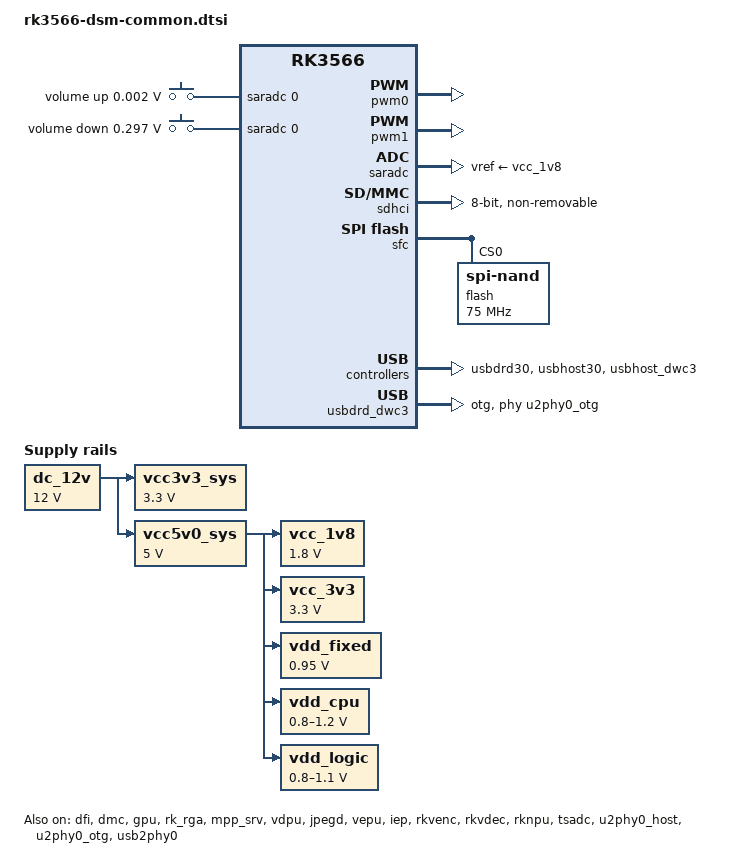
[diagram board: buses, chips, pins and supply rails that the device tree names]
// SPDX-License-Identifier: (GPL-2.0+ OR MIT)
/*
 * Common RK3566 DSM/NAS support.
 *
 * Keep display, HDMI audio and board-only connectors out of this file.
 */

#include "rk3566.dtsi"
#include <dt-bindings/input/rk-input.h>

/ {
	adc_keys: adc-keys {
		compatible = "adc-keys";
		io-channels = <&saradc 0>;
		io-channel-names = "buttons";
		keyup-threshold-microvolt = <1800000>;
		poll-interval = <100>;

		vol-up-key {
			label = "volume up";
			linux,code = <KEY_VOLUMEUP>;
			press-threshold-microvolt = <1750>;
		};

		vol-down-key {
			label = "volume down";
			linux,code = <KEY_VOLUMEDOWN>;
			press-threshold-microvolt = <297500>;
		};
	};

	dc_12v: dc-12v {
		compatible = "regulator-fixed";
		regulator-name = "dc_12v";
		regulator-always-on;
		regulator-boot-on;
		regulator-min-microvolt = <12000000>;
		regulator-max-microvolt = <12000000>;
	};

	reserved-memory {
		#address-cells = <2>;
		#size-cells = <2>;
		ranges;

		/delete-node/ drm-logo@00000000;
		/delete-node/ drm-cubic-lut@00000000;

		rknpu_reserved: rknpu {
			compatible = "shared-dma-pool";
			inactive;
			reusable;
			size = <0x0 0x20000000>;
			alignment = <0x0 0x1000>;
			status = "disabled";
		};
	};

	vcc3v3_sys: vcc3v3-sys {
		compatible = "regulator-fixed";
		regulator-name = "vcc3v3_sys";
		regulator-always-on;
		regulator-boot-on;
		regulator-min-microvolt = <3300000>;
		regulator-max-microvolt = <3300000>;
		vin-supply = <&dc_12v>;
	};

	vcc5v0_sys: vcc5v0-sys {
		compatible = "regulator-fixed";
		regulator-name = "vcc5v0_sys";
		regulator-always-on;
		regulator-boot-on;
		regulator-min-microvolt = <5000000>;
		regulator-max-microvolt = <5000000>;
		vin-supply = <&dc_12v>;
	};

	vcc_1v8: vcc_1v8 {
		compatible = "regulator-fixed";
		regulator-name = "vcc_1v8";
		regulator-always-on;
		regulator-boot-on;
		regulator-min-microvolt = <1800000>;
		regulator-max-microvolt = <1800000>;
		vin-supply = <&vcc5v0_sys>;
	};

	vcc_3v3: vcc_3v3 {
		compatible = "regulator-fixed";
		regulator-name = "vcc_3v3";
		regulator-always-on;
		regulator-boot-on;
		regulator-min-microvolt = <3300000>;
		regulator-max-microvolt = <3300000>;
		vin-supply = <&vcc5v0_sys>;
	};

	vdd_fixed: vdd-fixed {
		compatible = "regulator-fixed";
		regulator-name = "vdd_fixed";
		regulator-min-microvolt = <950000>;
		regulator-max-microvolt = <950000>;
		regulator-always-on;
		regulator-boot-on;
		vin-supply = <&vcc5v0_sys>;
	};

	vdd_cpu: vdd-cpu {
		compatible = "pwm-regulator";
		pwms = <&pwm0 0 5000 1>;
		regulator-name = "vdd_cpu";
		regulator-min-microvolt = <800000>;
		regulator-max-microvolt = <1200000>;
		regulator-init-microvolt = <950000>;
		regulator-always-on;
		regulator-boot-on;
		regulator-settling-time-up-us = <250>;
		regulator-ramp-delay = <2300>;
		pwm-supply = <&vcc5v0_sys>;
		status = "okay";
	};

	vdd_logic: vdd-logic {
		compatible = "pwm-regulator";
		pwms = <&pwm1 0 5000 1>;
		regulator-name = "vdd_logic";
		regulator-min-microvolt = <800000>;
		regulator-max-microvolt = <1100000>;
		regulator-init-microvolt = <950000>;
		regulator-always-on;
		regulator-boot-on;
		regulator-settling-time-up-us = <250>;
		regulator-ramp-delay = <6001>;
		pwm-supply = <&vcc5v0_sys>;
		status = "okay";
	};
};

&bus_npu {
	status = "disabled";
};

&cpu0 {
	clocks = <&cru ARMCLK>;
	cpu-supply = <&vdd_cpu>;
};

&cpu1 {
	clocks = <&cru ARMCLK>;
};

&cpu2 {
	clocks = <&cru ARMCLK>;
};

&cpu3 {
	clocks = <&cru ARMCLK>;
};

&cpu0_opp_table {
	/delete-property/ rockchip,supported-hw;
	/delete-node/ opp-1992000000;
	/delete-node/ opp-j-1008000000;
	/delete-node/ opp-j-1416000000;
	/delete-node/ opp-m-1608000000;

	opp-408000000 {
		/delete-property/ opp-supported-hw;
		opp-hz = /bits/ 64 <408000000>;
		opp-microvolt = <850000 850000 1200000>;
	};

	opp-600000000 {
		/delete-property/ opp-supported-hw;
		opp-hz = /bits/ 64 <600000000>;
		opp-microvolt = <850000 850000 1200000>;
	};

	opp-816000000 {
		/delete-property/ opp-supported-hw;
		opp-hz = /bits/ 64 <816000000>;
		opp-microvolt = <850000 850000 1200000>;
	};

	opp-1104000000 {
		/delete-property/ opp-supported-hw;
		opp-hz = /bits/ 64 <1104000000>;
		opp-microvolt = <900000 900000 1200000>;
	};

	opp-1416000000 {
		/delete-property/ opp-supported-hw;
		opp-hz = /bits/ 64 <1416000000>;
		opp-microvolt = <1025000 1025000 1200000>;
	};

	opp-1608000000 {
		/delete-property/ opp-supported-hw;
		opp-hz = /bits/ 64 <1608000000>;
		opp-microvolt = <1100000 1100000 1200000>;
	};

	opp-1800000000 {
		/delete-property/ opp-supported-hw;
		opp-hz = /bits/ 64 <1800000000>;
		opp-microvolt = <1150000 1150000 1200000>;
	};
};

&dfi {
	status = "okay";
};

&dmc {
	auto-freq-en = <0>;
	center-supply = <&vdd_fixed>;
	status = "okay";
};

&gpu {
	clocks = <&cru CLK_GPU>;
	clock-names = "clk_mali";
	mali-supply = <&vdd_fixed>;
	status = "okay";
};

&gpu_opp_table {
	/delete-node/ opp-700000000;
	/delete-node/ opp-800000000;
	/delete-node/ opp-j-600000000;
	/delete-node/ opp-m-800000000;

	opp-200000000 {
		/delete-property/ opp-supported-hw;
		opp-hz = /bits/ 64 <200000000>;
		opp-microvolt = <850000 850000 1000000>;
	};

	opp-300000000 {
		/delete-property/ opp-supported-hw;
		opp-hz = /bits/ 64 <300000000>;
		opp-microvolt = <850000 850000 1000000>;
	};

	opp-400000000 {
		/delete-property/ opp-supported-hw;
		opp-hz = /bits/ 64 <400000000>;
		opp-microvolt = <850000 850000 1000000>;
	};

	opp-500000000 {
		opp-hz = /bits/ 64 <500000000>;
		opp-microvolt = <900000 900000 1000000>;
	};

	opp-600000000 {
		/delete-property/ opp-supported-hw;
		opp-hz = /bits/ 64 <600000000>;
		opp-microvolt = <900000 900000 1000000>;
	};
};

&pwm0 {
	status = "okay";
	pinctrl-names = "active";
};

&pwm1 {
	status = "okay";
	pinctrl-names = "active";
};

&rk_rga {
	clock-names = "aclk", "hclk", "sclk";
	resets = <&cru SRST_RGA_CORE>, <&cru SRST_A_RGA>, <&cru SRST_H_RGA>;
	reset-names = "core", "axi", "ahb";
	status = "okay";
};

&mpp_srv {
	status = "okay";
};

&vdpu {
	status = "okay";
};

&vdpu_mmu {
	status = "okay";
};

&jpegd {
	status = "okay";
};

&jpegd_mmu {
	status = "okay";
};

&vepu {
	status = "okay";
};

&vepu_mmu {
	status = "okay";
};

&iep {
	status = "okay";
};

&iep_mmu {
	status = "okay";
};

&rkvenc {
	dynamic-power-coefficient = <200>;
	venc-supply = <&vdd_logic>;
	status = "okay";

	power-model {
		compatible = "simple-power-model";
		thermal-zone = "soc-thermal";
		static-coefficient = <100000>;
		dynamic-coefficient = <200>;
		ts = <32000 4700 (-80) 2>;
		ref-leakage = <50>;
	};
};

&rkvenc_mmu {
	status = "okay";
};

&rkvdec {
	dynamic-power-coefficient = <200>;
	resets = <&cru SRST_A_RKVDEC_NIU>, <&cru SRST_H_RKVDEC_NIU>,
		 <&cru SRST_A_RKVDEC>, <&cru SRST_H_RKVDEC>,
		 <&cru SRST_RKVDEC_CA>, <&cru SRST_RKVDEC_CORE>,
		 <&cru SRST_RKVDEC_HEVC_CA>;
	reset-names = "niu_a", "niu_h", "video_a", "video_h",
		      "video_cabac", "video_core", "video_hevc_cabac";
	vdec-supply = <&vdd_logic>;
	status = "okay";

	power-model {
		compatible = "simple-power-model";
		thermal-zone = "soc-thermal";
		static-coefficient = <100000>;
		dynamic-coefficient = <200>;
		ts = <32000 4700 (-80) 2>;
		ref-leakage = <50>;
	};
};

&rkvdec_mmu {
	status = "okay";
};

&rknpu {
	clocks = <&cru CLK_NPU>, <&cru ACLK_NPU>, <&cru HCLK_NPU>;
	clock-names = "clk", "aclk", "hclk";
	dynamic-power-coefficient = <250>;
	memory-region = <&rknpu_reserved>;
	rknpu-supply = <&vdd_fixed>;
	status = "okay";

	power-model {
		compatible = "simple-power-model";
		thermal-zone = "soc-thermal";
		static-coefficient = <100000>;
		dynamic-coefficient = <250>;
		ts = <32000 4700 (-80) 2>;
		ref-leakage = <4>;
	};
};

&rknpu_mmu {
	status = "okay";
};

&npu_opp_table {
	/delete-property/ rockchip,supported-hw;
	/delete-node/ opp-1000000000;
	/delete-node/ opp-j-600000000;
	/delete-node/ opp-m-900000000;

	opp-200000000 {
		/delete-property/ opp-supported-hw;
	};

	opp-300000000 {
		/delete-property/ opp-supported-hw;
	};

	opp-400000000 {
		/delete-property/ opp-supported-hw;
	};

	opp-600000000 {
		/delete-property/ opp-supported-hw;
	};

	opp-700000000 {
		/delete-property/ opp-supported-hw;
	};

	opp-800000000 {
		/delete-property/ opp-supported-hw;
	};

	opp-900000000 {
		/delete-property/ opp-supported-hw;
	};
};

&rockchip_suspend {
	status = "okay";
	rockchip,sleep-mode-config = <
		(0
		| RKPM_SLP_CENTER_OFF
		| RKPM_SLP_HW_PLLS_OFF
		| RKPM_SLP_PMUALIVE_32K
		| RKPM_SLP_PMIC_LP
		| RKPM_SLP_32K_PVTM
		)
	>;
	rockchip,wakeup-config = <
		(0
		| RKPM_PWM0_WKUP_EN
		| RKPM_CPU0_WKUP_EN
		)
	>;
};

&saradc {
	status = "okay";
	vref-supply = <&vcc_1v8>;
};

&sdhci {
	bus-width = <8>;
	no-sdio;
	no-sd;
	non-removable;
	pinctrl-names = "default";
	pinctrl-0 = <&emmc_bus8 &emmc_clk &emmc_cmd
		     &emmc_datastrobe &emmc_rstnout>;
	status = "okay";
};

&sfc {
	status = "okay";

	flash@0 {
		compatible = "spi-nand";
		reg = <0>;
		spi-max-frequency = <75000000>;
		spi-rx-bus-width = <4>;
		spi-tx-bus-width = <1>;
	};
};

&tsadc {
	status = "okay";
};

&u2phy0_host {
	status = "okay";
};

&u2phy0_otg {
	status = "okay";
};

&usb2phy0 {
	status = "okay";
};

&usbdrd30 {
	status = "okay";
};

&usbdrd_dwc3 {
	dr_mode = "otg";
	phys = <&u2phy0_otg>;
	maximum-speed = "high-speed";
	extcon = <&usb2phy0>;
	snps,dev_force_20_clk_for_30_clk;
	status = "okay";
};

&usbhost30 {
	status = "okay";
};

&usbhost_dwc3 {
	status = "okay";
};
